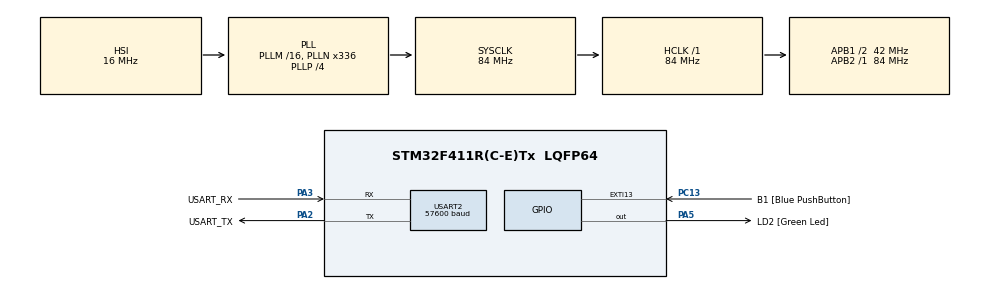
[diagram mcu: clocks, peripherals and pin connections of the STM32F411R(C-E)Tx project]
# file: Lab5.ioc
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Dma.Request0=USART2_RX
Dma.Request1=USART2_TX
Dma.USART2_RX.0.Direction=DMA_PERIPH_TO_MEMORY
Dma.USART2_RX.0.FIFOMode=DMA_FIFOMODE_DISABLE
Dma.USART2_RX.0.Instance=DMA1_Stream5
Dma.USART2_RX.0.MemDataAlignment=DMA_MDATAALIGN_BYTE
Dma.USART2_RX.0.MemInc=DMA_MINC_ENABLE
Dma.USART2_RX.0.Mode=DMA_NORMAL
Dma.USART2_RX.0.PeriphDataAlignment=DMA_PDATAALIGN_BYTE
Dma.USART2_RX.0.PeriphInc=DMA_PINC_DISABLE
Dma.USART2_RX.0.Priority=DMA_PRIORITY_LOW
Dma.USART2_TX.1.Direction=DMA_MEMORY_TO_PERIPH
Dma.USART2_TX.1.FIFOMode=DMA_FIFOMODE_DISABLE
Dma.USART2_TX.1.Instance=DMA1_Stream6
Dma.USART2_TX.1.MemDataAlignment=DMA_MDATAALIGN_BYTE
Dma.USART2_TX.1.MemInc=DMA_MINC_ENABLE
Dma.USART2_TX.1.Mode=DMA_NORMAL
Dma.USART2_TX.1.PeriphDataAlignment=DMA_PDATAALIGN_BYTE
Dma.USART2_TX.1.PeriphInc=DMA_PINC_DISABLE
Dma.USART2_TX.1.Priority=DMA_PRIORITY_LOW
Mcu.Family=STM32F4
Mcu.Name=STM32F411R(C-E)Tx
Mcu.Package=LQFP64
NVIC.DMA1_Stream5_IRQn=true\:0\:0\:false\:false\:true\:false\:true\:true
NVIC.DMA1_Stream6_IRQn=true\:0\:0\:false\:false\:true\:false\:true\:true
NVIC.PriorityGroup=NVIC_PRIORITYGROUP_0
NVIC.USART2_IRQn=true\:0\:0\:false\:false\:true\:true\:true\:true
PA13.GPIO_Label=TMS
PA13.Mode=Serial_Wire
PA13.Signal=SYS_JTMS-SWDIO
PA14.GPIO_Label=TCK
PA14.Mode=Serial_Wire
PA14.Signal=SYS_JTCK-SWCLK
PA2.GPIO_Label=USART_TX
PA2.Mode=Asynchronous
PA2.Signal=USART2_TX
PA3.GPIO_Label=USART_RX
PA3.Mode=Asynchronous
PA3.Signal=USART2_RX
PA5.GPIO_Label=LD2 [Green Led]
PA5.Signal=GPIO_Output
PB3.GPIO_Label=SWO
PB3.Signal=SYS_JTDO-SWO
PC13-ANTI_TAMP.GPIO_Label=B1 [Blue PushButton]
PC13-ANTI_TAMP.GPIO_ModeDefaultEXTI=GPIO_MODE_IT_FALLING
PC13-ANTI_TAMP.Signal=GPXTI13
PC14-OSC32_IN.Mode=LSE-External-Oscillator
PC14-OSC32_IN.Signal=RCC_OSC32_IN
PC15-OSC32_OUT.Mode=LSE-External-Oscillator
PC15-OSC32_OUT.Signal=RCC_OSC32_OUT
PH0\ -\ OSC_IN.Mode=HSE-External-Clock-Source
PH0\ -\ OSC_IN.Signal=RCC_OSC_IN
PH1\ -\ OSC_OUT.Mode=HSE-External-Clock-Source
PH1\ -\ OSC_OUT.Signal=RCC_OSC_OUT
ProjectManager.HeapSize=0x200
ProjectManager.StackSize=0x400
ProjectManager.TargetToolchain=STM32CubeIDE
RCC.48MHZClocksFreq_Value=84000000
RCC.AHBFreq_Value=84000000
RCC.APB1CLKDivider=RCC_HCLK_DIV2
RCC.APB1Freq_Value=42000000
RCC.APB1TimFreq_Value=84000000
RCC.APB2Freq_Value=84000000
RCC.APB2TimFreq_Value=84000000
RCC.CortexFreq_Value=84000000
RCC.FLatency-AdvancedSettings=FLASH_LATENCY_2
RCC.HCLKFreq_Value=84000000
RCC.HSE_VALUE=8000000
RCC.HSI_VALUE=16000000
RCC.PLLN=336
RCC.PLLP=RCC_PLLP_DIV4
RCC.SYSCLKFreq_VALUE=84000000
RCC.SYSCLKSource=RCC_SYSCLKSOURCE_PLLCLK
RCC.VCOOutputFreq_Value=336000000
USART2.BaudRate=57600
USART2.VirtualMode=VM_ASYNC
board=NUCLEO-F411RE

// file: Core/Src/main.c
/* USER CODE BEGIN Header */
/**
  ******************************************************************************
  * @file           : main.c
  * @brief          : Main program body
  ******************************************************************************
  * @attention
  *
  * Copyright (c) 2023 STMicroelectronics.
  * All rights reserved.
  *
  * This software is licensed under terms that can be found in the LICENSE file
  * in the root directory of this software component.
  * If no LICENSE file comes with this software, it is provided AS-IS.
  *
  ******************************************************************************
  */
/* USER CODE END Header */
#include "main.h"

/* USER CODE BEGIN Includes */
#include "stdio.h"
#include "string.h"

/* USER CODE END Includes */

UART_HandleTypeDef huart2;
DMA_HandleTypeDef hdma_usart2_rx;
DMA_HandleTypeDef hdma_usart2_tx;

/* USER CODE BEGIN PV */
uint8_t button = 0;
uint8_t CheckButton = 1;
uint8_t Hz = 0;
uint8_t State = 0;
uint8_t RxBuffer[10];
uint8_t TxBuffer[40];
uint8_t Button[1];
uint8_t Menu[] =
		"Press the number of choise \r\n"
		"      0 LED Control        \r\n"
		"      1 Button Status      \r\n";
uint8_t Menu1[] =
		"        LED Control        \r\n"
		"     a : Speed Up +1 Hz    \r\n"
		"     s : Speed Down -1 Hz  \r\n"
		"     d : On / Off LED      \r\n"
		"     x : Prevoius menus    \r\n";
uint8_t Menu2[] =
		"        Button Status      \r\n"
		"     show button status B1 \r\n"
		"     x : Prevoius menus    \r\n";
uint8_t ledon[]   = "LedOn\r\n";
uint8_t ledoff[]  = "LedOff\r\n";
uint8_t Press[]   = "Button Pressed\r\n";
uint8_t unPress[] = "Button Unpressed\r\n";
uint16_t CheckButtonB1 = 0;
/* USER CODE END PV */

void SystemClock_Config(void);
static void MX_GPIO_Init(void);
static void MX_DMA_Init(void);
static void MX_USART2_UART_Init(void);
/* USER CODE BEGIN PFP */
//void UARTPollingMethod();
//void DummyTrak();
//void UARTInterruptConfig();
/* USER CODE END PFP */

int main(void)
{

  /* MCU Configuration--------------------------------------------------------*/

  /* Reset of all peripherals, Initializes the Flash interface and the Systick. */
  HAL_Init();

  /* Configure the system clock */
  SystemClock_Config();

  /* Initialize all configured peripherals */
  MX_GPIO_Init();
  MX_DMA_Init();
  MX_USART2_UART_Init();
  /* USER CODE BEGIN 2 */
//  uint8_t text[] = "HELLO FIBO";
//  HAL_UART_Transmit(&huart2, text , 11 , 10);
//  UARTInterrupConfig();

  /* USER CODE END 2 */

  /* Infinite loop */
  while (1)
  {
  	  UARTInterrupConfig();
  	  static uint32_t timestamp = 0;
  	  if (HAL_GetTick() > timestamp)
  	  {
  		  timestamp = HAL_GetTick()+100;
//	  		  HAL_GPIO_TogglePin(LD2_GPIO_Port,LD2_Pin);
  	  }
  	  switch(State)
  	  {
  	  case 0:
  		  HAL_UART_Transmit_IT(&huart2, Menu , strlen((char*)Menu) );
  		  State = 1;
  		  break;
  	  case 1:
  		  if(RxBuffer[0] == 48)
  		  {
  			  State = 2;

  		  }
  		  else if(RxBuffer[0] == 49)
  		  {
  			  State = 4;

  		  }
  		  break;
  	  case 2:
  		  HAL_UART_Transmit_IT(&huart2, Menu1 , strlen((char*)Menu1));
  		  State = 3;
  		  break;
  	  case 3:
  		  if(RxBuffer[0] == 97)
  		  {

  			  Hz = Hz + 1;
  			  State = 3;
  		  }
  		  else if(RxBuffer[0] == 115)
  		  {

  			  Hz = Hz - 1;
  			  State = 3;
  		  }
  		  else if(RxBuffer[0] == 100)
  		  {

  			  if(HAL_GPIO_ReadPin(GPIOA, GPIO_PIN_5) == 1 && CheckButton == 0 )
  			  {
  				  CheckButton = 1;
  				  HAL_UART_Transmit(&huart2, ledon , strlen((char*)ledon),50 );
  				  HAL_GPIO_WritePin(LD2_GPIO_Port, LD2_Pin, RESET);
  			  }
  			  else if(HAL_GPIO_ReadPin(GPIOA, GPIO_PIN_5) == 0 && CheckButton == 0)
  			  {
  				  CheckButton = 1;
  				  HAL_UART_Transmit(&huart2, ledoff , strlen((char*)ledoff),50 );
  				  HAL_GPIO_WritePin(LD2_GPIO_Port, LD2_Pin, SET);
  			  }
  			  State = 3;
  		  }
  		  else if(RxBuffer[0] == 120)
  		  {

  			  State = 0;
  		  }
  		  else
  		  {
  			  State = 3;
  		  }
  		  break;
  	  case 4:
  		  HAL_UART_Transmit_IT(&huart2, Menu2 , strlen((char*)Menu2) );
  		  State = 5;
  		  break;
  	  case 5:
  		  button = HAL_GPIO_ReadPin(GPIOC, GPIO_PIN_13);
  		  if(button == 1 && CheckButton == 0)
  		  {
  			  CheckButton = 1;
  			  HAL_UART_Transmit(&huart2, Press , strlen((char*)Press),50 );
  			  State = 4;
  		  }
  		  else if(button == 0 && CheckButton == 0)
  		  {
  			  CheckButton = 1;
  			  HAL_UART_Transmit(&huart2, unPress , strlen((char*)unPress),50 );
  			  State = 4;
  		  }
  		  else if(RxBuffer[0] == 120)
  		  {

  			  State = 0;
  		  }
  		  break;

  	  }

  }
}

void SystemClock_Config(void)
{
  RCC_OscInitTypeDef RCC_OscInitStruct = {0};
  RCC_ClkInitTypeDef RCC_ClkInitStruct = {0};

  /** Configure the main internal regulator output voltage
  */
  __HAL_RCC_PWR_CLK_ENABLE();
  __HAL_PWR_VOLTAGESCALING_CONFIG(PWR_REGULATOR_VOLTAGE_SCALE1);

  /** Initializes the RCC Oscillators according to the specified parameters
  * in the RCC_OscInitTypeDef structure.
  */
  RCC_OscInitStruct.OscillatorType = RCC_OSCILLATORTYPE_HSI;
  RCC_OscInitStruct.HSIState = RCC_HSI_ON;
  RCC_OscInitStruct.HSICalibrationValue = RCC_HSICALIBRATION_DEFAULT;
  RCC_OscInitStruct.PLL.PLLState = RCC_PLL_ON;
  RCC_OscInitStruct.PLL.PLLSource = RCC_PLLSOURCE_HSI;
  RCC_OscInitStruct.PLL.PLLM = 16;
  RCC_OscInitStruct.PLL.PLLN = 336;
  RCC_OscInitStruct.PLL.PLLP = RCC_PLLP_DIV4;
  RCC_OscInitStruct.PLL.PLLQ = 4;
  if (HAL_RCC_OscConfig(&RCC_OscInitStruct) != HAL_OK)
  {
    Error_Handler();
  }

  /** Initializes the CPU, AHB and APB buses clocks
  */
  RCC_ClkInitStruct.ClockType = RCC_CLOCKTYPE_HCLK|RCC_CLOCKTYPE_SYSCLK
                              |RCC_CLOCKTYPE_PCLK1|RCC_CLOCKTYPE_PCLK2;
  RCC_ClkInitStruct.SYSCLKSource = RCC_SYSCLKSOURCE_PLLCLK;
  RCC_ClkInitStruct.AHBCLKDivider = RCC_SYSCLK_DIV1;
  RCC_ClkInitStruct.APB1CLKDivider = RCC_HCLK_DIV2;
  RCC_ClkInitStruct.APB2CLKDivider = RCC_HCLK_DIV1;

  if (HAL_RCC_ClockConfig(&RCC_ClkInitStruct, FLASH_LATENCY_2) != HAL_OK)
  {
    Error_Handler();
  }
}

static void MX_USART2_UART_Init(void)
{

  huart2.Instance = USART2;
  huart2.Init.BaudRate = 57600;
  huart2.Init.WordLength = UART_WORDLENGTH_8B;
  huart2.Init.StopBits = UART_STOPBITS_1;
  huart2.Init.Parity = UART_PARITY_NONE;
  huart2.Init.Mode = UART_MODE_TX_RX;
  huart2.Init.HwFlowCtl = UART_HWCONTROL_NONE;
  huart2.Init.OverSampling = UART_OVERSAMPLING_16;
  if (HAL_UART_Init(&huart2) != HAL_OK)
  {
    Error_Handler();
  }

}

static void MX_DMA_Init(void)
{

  /* DMA controller clock enable */
  __HAL_RCC_DMA1_CLK_ENABLE();

  /* DMA interrupt init */
  /* DMA1_Stream5_IRQn interrupt configuration */
  HAL_NVIC_SetPriority(DMA1_Stream5_IRQn, 0, 0);
  HAL_NVIC_EnableIRQ(DMA1_Stream5_IRQn);
  /* DMA1_Stream6_IRQn interrupt configuration */
  HAL_NVIC_SetPriority(DMA1_Stream6_IRQn, 0, 0);
  HAL_NVIC_EnableIRQ(DMA1_Stream6_IRQn);

}

static void MX_GPIO_Init(void)
{
  GPIO_InitTypeDef GPIO_InitStruct = {0};

  /* GPIO Ports Clock Enable */
  __HAL_RCC_GPIOC_CLK_ENABLE();
  __HAL_RCC_GPIOH_CLK_ENABLE();
  __HAL_RCC_GPIOA_CLK_ENABLE();
  __HAL_RCC_GPIOB_CLK_ENABLE();

  /*Configure GPIO pin Output Level */
  HAL_GPIO_WritePin(LD2_GPIO_Port, LD2_Pin, GPIO_PIN_RESET);

  /*Configure GPIO pin : B1_Pin */
  GPIO_InitStruct.Pin = B1_Pin;
  GPIO_InitStruct.Mode = GPIO_MODE_IT_FALLING;
  GPIO_InitStruct.Pull = GPIO_NOPULL;
  HAL_GPIO_Init(B1_GPIO_Port, &GPIO_InitStruct);

  /*Configure GPIO pin : LD2_Pin */
  GPIO_InitStruct.Pin = LD2_Pin;
  GPIO_InitStruct.Mode = GPIO_MODE_OUTPUT_PP;
  GPIO_InitStruct.Pull = GPIO_NOPULL;
  GPIO_InitStruct.Speed = GPIO_SPEED_FREQ_LOW;
  HAL_GPIO_Init(LD2_GPIO_Port, &GPIO_InitStruct);

}

/* USER CODE BEGIN 4 */
//void UARTPollingMethod()
//{
//	//read uart 10 char with in 10s
//	HAL_StatusTypeDef HAL_status = HAL_UART_Receive(&huart2,RxBuffer,10,1000);
//
//	//if complete read 10 char
//	if(HAL_status == HAL_OK)
//	{
//		RxBuffer[10] = '\0';
//
//		sprintf((char*)TxBuffer,"Received : %s\r\n",RxBuffer);
//		HAL_UART_Transmit(&huart2,TxBuffer,strlen((char*)TxBuffer),10);
//	}
//	else if(HAL_status == HAL_TIMEOUT)
//	{
//		uint32_t lastCharPos = huart2.RxXferSize - huart2.RxXferCount;
//		RxBuffer[lastCharPos] = '\0';
//
//		sprintf((char*)TxBuffer,"Received Timeout : %s\r\n",RxBuffer);
//		HAL_UART_Transmit(&huart2,TxBuffer,strlen((char*)TxBuffer),10);
//	}
//}

//void DummyTask()
//{
//	static uint32_t timestamp = 0;
//	if(HAL_GetTick()>=timestamp)
//	{
//		timestamp = HAL_GetTick()+100;
//		HAL_GPIO_TogglePin(LD2_GPIO_Port,LD2_Pin);
//	}
//}

void UARTInterrupConfig()
{
	HAL_UART_Receive_IT(&huart2,RxBuffer,1);

}

void HAL_UART_RxCpltCallback(UART_HandleTypeDef*huart)
{
	if(huart == &huart2)
	{
		RxBuffer[1] = '\0';
		CheckButton = 0;
		sprintf((char*)TxBuffer,"Received : %s\r\n",RxBuffer);
		HAL_UART_Transmit(&huart2,TxBuffer,strlen((char*)TxBuffer),50);

		HAL_UART_Receive_IT(&huart2,RxBuffer,1);
	}
}
/* USER CODE END 4 */

void Error_Handler(void)
{
  __disable_irq();
  while (1)
  {
  }
}
